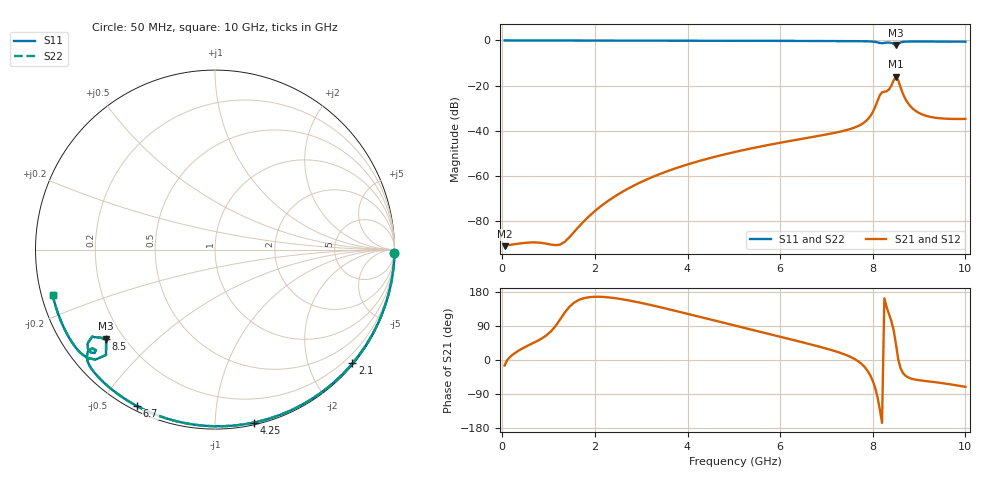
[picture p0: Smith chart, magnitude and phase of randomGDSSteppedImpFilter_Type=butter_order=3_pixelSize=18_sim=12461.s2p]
! freq	dB(S11)	phase(S11)	dB(S12)	phase(S12)
!  dB(S21)	phase(S21)	dB(S22)	phase(S22)
!S-par simulation data
#  GHz  S  DB  R 50
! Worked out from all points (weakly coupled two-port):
!   200 points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, 50 MHz to 10 GHz, reference 50 ohm
!   highest |S21| = -16.00 dB at 8.5 GHz (marker M1); lowest = -91.1 dB at 50 MHz (marker M2)
!   lowest |S11| = -2.1 dB at 8.5 GHz (marker M3), VSWR 8.28, Z = 6.8 - j17.6 ohm
!   |S11| at or under -10 dB: nowhere
!   |S22| runs from -2.1 to 0.0 dB; largest |S21 - S12| = 0
!   S11 on the Smith chart (normalised r, x): 50 MHz: open; 2.1 GHz: 0.03, -2.78; 4.25 GHz: 0.02, -1.25; 6.7 GHz: 0.02, -0.62; 8.5 GHz: 0.14, -0.35; 10 GHz: 0.03, -0.14
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0.05  -0.00 -1.0  -91.08 -14.6  -91.08 -14.6  -0.00 -1.0
1.75  -0.04 -33.2  -80.31 162.7  -80.31 162.7  -0.04 -33.2
2.1  -0.05 -39.6  -73.84 166.9  -73.84 166.9  -0.05 -39.6
2.65  -0.06 -49.6  -66.34 159.0  -66.34 159.0  -0.06 -49.6
3.4  -0.08 -62.8  -59.15 139.6  -59.15 139.6  -0.08 -62.8
4.25  -0.11 -77.3  -53.38 114.3  -53.38 114.3  -0.11 -77.3
5.05  -0.14 -90.4  -49.24 90.1  -49.24 90.1  -0.14 -90.4
6.7  -0.23 -116.4  -42.73 39.9  -42.73 39.9  -0.23 -116.4
7.4  -0.29 -127.4  -39.86 14.4  -39.86 14.4  -0.29 -127.4
7.75  -0.34 -133.4  -37.19 -9.6  -37.19 -9.6  -0.34 -133.4
7.95  -0.44 -137.6  -33.41 -41.5  -33.41 -41.5  -0.44 -137.6
8.2  -1.23 -139.8  -22.95 -165.8  -22.95 -165.8  -1.21 -139.9
8.35  -0.93 -141.8  -21.67 121.0  -21.67 121.0  -0.92 -141.9
8.45  -1.52 -144.6  -17.73 79.4  -17.73 79.4  -1.53 -144.8
8.5  -2.11 -140.7  -16.00 42.0  -16.00 42.0  -2.13 -140.8
8.55  -1.47 -136.0  -17.60 1.8  -17.60 1.8  -1.48 -135.9
8.6  -0.86 -137.4  -20.80 -21.8  -20.80 -21.8  -0.87 -137.3
8.7  -0.54 -141.2  -25.76 -40.8  -25.76 -40.8  -0.54 -141.2
8.8  -0.47 -143.9  -28.83 -47.9  -28.83 -47.9  -0.47 -143.8
8.95  -0.45 -147.0  -31.53 -52.5  -31.53 -52.5  -0.45 -147.0
9.35  -0.47 -153.9  -34.22 -58.5  -34.22 -58.5  -0.47 -153.9
10  -0.54 -164.3  -34.74 -70.9  -34.74 -70.9  -0.55 -164.3
